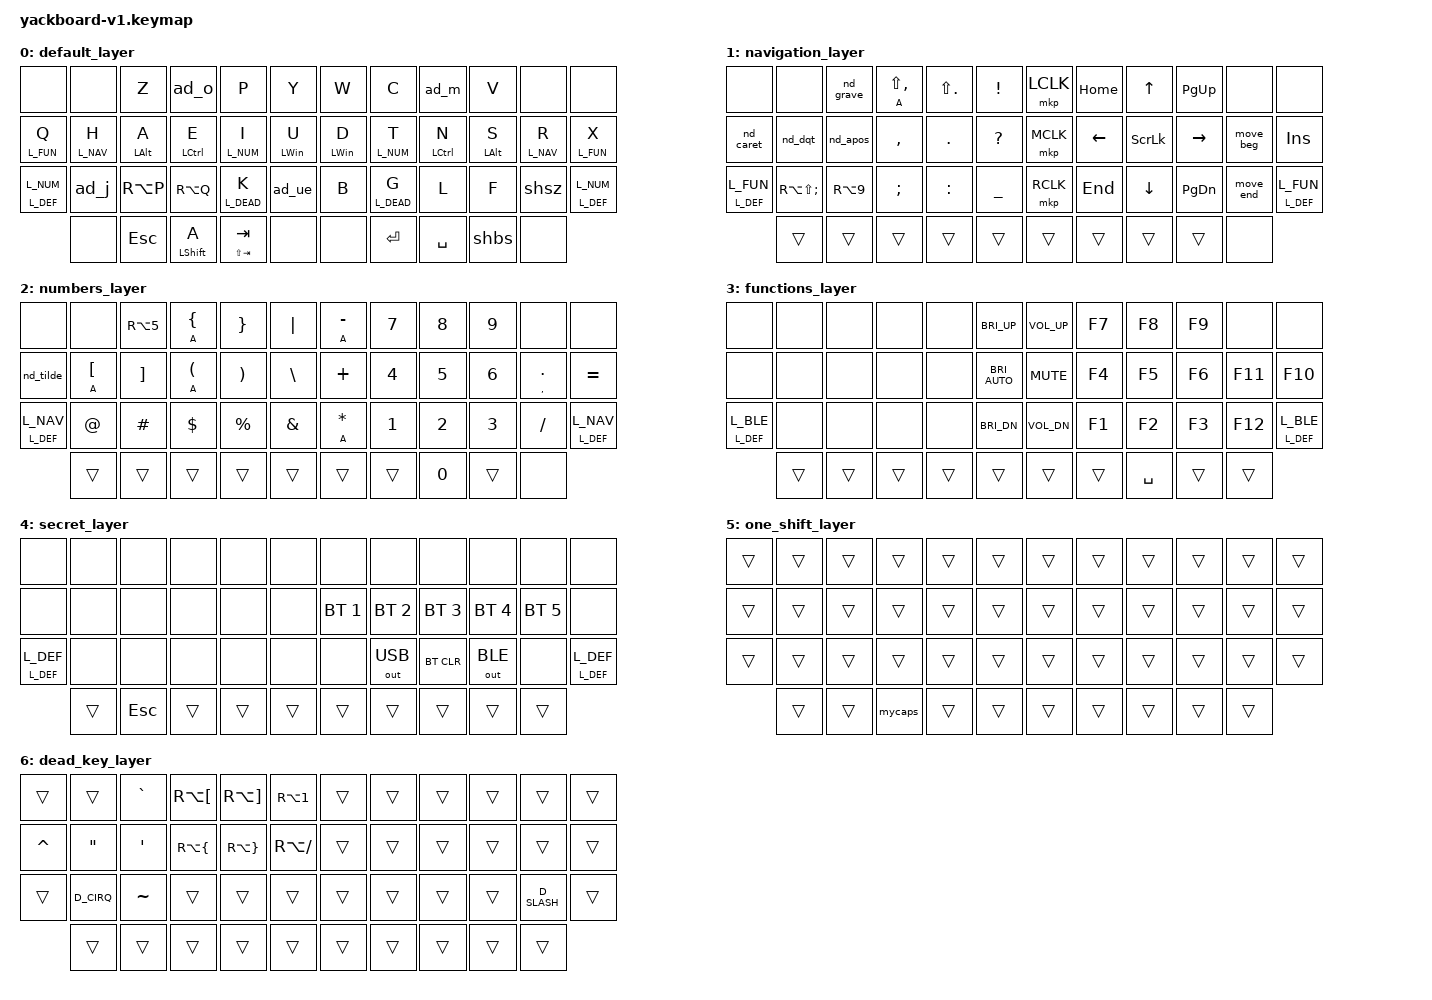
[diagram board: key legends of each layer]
// This is the key map of the Yackboard v1 with the improved OPY layout.

#include <behaviors.dtsi>
#include <dt-bindings/zmk/keys.h>
#include <dt-bindings/zmk/mouse.h>   // This is required when using &mkp mouse key events.
#include <dt-bindings/zmk/bt.h>      // This is required when using &bt bluetooth commands.
#include <dt-bindings/zmk/outputs.h> // This is required when using the &out output commands.

// The following are illegal keycodes (above 0x00ff) with usage page 0x07. They are automatically
// removed by the event handler of the "zmk,behavior-antecedent-morph" as soon as one such
// behavior is defined and so cannot print anything. But they can be used as antecedents in
// that behavior and modify the subsequent key. For example, the slash can act as a dead key
// and modify the subsequent o to an ø.
#define D_SLASH 0x070100
#define D_CIRQ  0x070101

// The dedicated shift key has got the following behaviour:
// - if held down, it is the shift modifier
// - if held down, but no other key is tapped, it reverts to the default layer (note that this requires the custom retro-tap patch of https://github.com/nickconway/zmk/tree/retro-tap-binding)
// - if tapped once, it is a one-shot shift, i.e. applies shift to the subsequent key
// - if tapped twice, it is my flavour of caps word, i.e. it capitalizes the subsequent word (including the underscore)
//
// ??? note that reverting to the default layer does not work because a retro-tap parameter prevents the hold behavior entirely.
// I have therefore removed the retro-tap behavior <&to L_DEF> from the behavior-hold-tap
// Better: patch that behavior so that just holding the key first issues the hold and then the retro-tap
//
// This is implemented as follows:
// - first, there is a hold-tap with hold the LSHFT and tap the following sticky key; it has a custom retro-tap behaviour which resets the layer to default
// - the sticky key produces a one-shot version of a macro that applies the following two modifiers
// - the shift modifier (for the one-shot shift) and the momentarily applied special layer L_ONE_SHF (which does nothing other than modifying the behaviour of the shift key)
// - on the special layer L_ONE_SHF the shift key is my flavour of caps-word - otherwise that layer is transparent

/ {
  macros {
    macro_shf: macro_layer_and_shift { // this macro applies the two modifiers when the shift key is tapped for the first time
      compatible = "zmk,behavior-macro";
      label = "MACRO_LAYER_AND_SHIFT";
      #binding-cells = <0>;
      wait-ms = <0>;
      tap-ms = <1>;
      bindings
      = <&macro_press   &mo L_SHF &kp LSHFT>
      , <&macro_pause_for_release>
      , <&macro_release &mo L_SHF &kp LSHFT>
      ;
    };
  };

  behaviors {
    sticky_shift: sticky_layer_and_shift { // this is the sticky behaviour of the macro when the dedicated shift key is pressed for the first time
      compatible = "zmk,behavior-sticky-key";
      label = "STICKY_LAYER_AND_SHIFT";
      #binding-cells = <1>;
      release-after-ms = <1000>;
      bindings = <&macro_shf>;
      ignore-modifiers;
    };
    hold_shift: hold_tap_shift { // this is the hold-tap for the dedicated shift key
      compatible = "zmk,behavior-hold-tap";
      label = "HOLD_TAP_SHIFT";
      #binding-cells = <2>;
      flavor = "balanced";
      tapping-term-ms = <300>;
      bindings = <&kp>, <&sticky_shift>;
    };
    mycaps: behavior_my_caps_word { // my version of Caps Word includes the underscore as a letter.
      compatible = "zmk,behavior-caps-word";
      label = "MY_CAPS";
      #binding-cells = <0>;
      continue-list = <UNDER>;
    };
  };
};

//      retro-tap;
//      retro-tap-behavior = "TO_LAYER"; // this requiree the custom retro-tap patch; note that the alternative behaviour is defined using control strings such as this
//      retro-tap-param1 = <L_DEF>;


// There are two variants of home row hold-tap modifiers: mod-tap for [Ctrl], [Alt] and [Win] and layer-tap for the keys
// that momentarily activate the number, navigation, function and dead key layers.
//
// If the tap binding is a key press, the key code is taken from the second parameter of the behavior. If the tap binding
// is another behavior, however, for example if the tap binding is an adaptive key, this must be defined as a special
// behavior.

/ {
  behaviors {
    moht: modifier_hold_tap { // the home row modifiers use the following specialization of &ht.
      compatible = "zmk,behavior-hold-tap";
      label = "MODIFIER_HOLD_TAP";
      #binding-cells = <2>;
      flavor = "balanced";
      tapping-term-ms = <250>;
      quick-tap-ms = <200>;
      bindings = <&kp>, <&kp>;
    };
    mohta: modifier_hold_tapa { // the home row modifier for adaptive A
      compatible = "zmk,behavior-hold-tap";
      label = "MODIFIER_HOLD_TAPA";
      #binding-cells = <2>;
      flavor = "balanced";
      tapping-term-ms = <250>;
      quick-tap-ms = <200>;
      bindings = <&kp>, <&ad_a>;
    };
    mohtu: modifier_hold_tapu { // the home row modifier for adaptive U
      compatible = "zmk,behavior-hold-tap";
      label = "MODIFIER_HOLD_TAPU";
      #binding-cells = <2>;
      flavor = "balanced";
      tapping-term-ms = <250>;
      quick-tap-ms = <200>;
      bindings = <&kp>, <&ad_u>;
    };
    mohtd: modifier_hold_tapd { // the home row modifier for adaptive D
      compatible = "zmk,behavior-hold-tap";
      label = "MODIFIER_HOLD_TAPD";
      #binding-cells = <2>;
      flavor = "balanced";
      tapping-term-ms = <250>;
      quick-tap-ms = <200>;
      bindings = <&kp>, <&ad_d>;
    };
    mohtn: modifier_hold_tapn { // the home row modifier for adaptive N
      compatible = "zmk,behavior-hold-tap";
      label = "MODIFIER_HOLD_TAPN";
      #binding-cells = <2>;
      flavor = "balanced";
      tapping-term-ms = <250>;
      quick-tap-ms = <200>;
      bindings = <&kp>, <&ad_n>;
    };
    lyht: layer_hold_tap { // the home row layer keys for use the following specialization of &ht.
      compatible = "zmk,behavior-hold-tap";
      label = "LAYER_HOLD_TAP";
      #binding-cells = <2>;
      flavor = "balanced";
      tapping-term-ms = <250>;
      quick-tap-ms = <250>;
      bindings = <&mo>, <&kp>;
    };
    lyhtq: layer_hold_tapq { // the home row layer key for adaptive Q; note that instead of a key-press, this calls the macro for Qu and only in the retro-tap case a single Q
      compatible = "zmk,behavior-hold-tap";
      label = "LAYER_HOLD_TAPQ";
      #binding-cells = <2>;
      flavor = "balanced";
      tapping-term-ms = <250>;
      retro-tap;
      retro-tap-behavior = "KEY_PRESS"; // this requiree the custom retro-tap patch; note that the alternative behaviour is defined using control strings such as this
      retro-tap-param1 = <Q>;
      quick-tap-ms = <250>;
      bindings = <&mo>, <&qu_mod>;
    };
    lyhth: layer_hold_taph { // the home row layer key for adaptive H
      compatible = "zmk,behavior-hold-tap";
      label = "LAYER_HOLD_TAPH";
      #binding-cells = <2>;
      flavor = "balanced";
      tapping-term-ms = <250>;
      quick-tap-ms = <250>;
      bindings = <&mo>, <&ad_h>;
    };
    lyhtx: layer_hold_tapx { // the home row layer key for adaptive X
      compatible = "zmk,behavior-hold-tap";
      label = "LAYER_HOLD_TAPX";
      #binding-cells = <2>;
      flavor = "balanced";
      tapping-term-ms = <250>;
      quick-tap-ms = <250>;
      bindings = <&mo>, <&ad_x>;
    };
    lyhtg: layer_hold_tapg { // the home row layer key for adaptive G
      compatible = "zmk,behavior-hold-tap";
      label = "LAYER_HOLD_TAPG";
      #binding-cells = <2>;
      flavor = "balanced";
      tapping-term-ms = <250>;
      quick-tap-ms = <250>;
      bindings = <&mo>, <&ad_g>;
    };
  };
};

// The dedicated layer cycle keys switch layers or, if held down, revert to the basic layer.

/ {
  behaviors {
    ltt: layer_to_tap { // the layer switch key on the right half is &to if tapped and &to if held down
      compatible = "zmk,behavior-hold-tap";
      label = "LAYER_TO_TAP";
      #binding-cells = <2>;
      tapping-term-ms = <200>;
      bindings = <&to>, <&to>;
    };
  };
};

// There are a few keys that use the hold-tap function in order to issue a different symbol if held longer.

/ {
  behaviors {
    ht: hold_tap_general {
      compatible = "zmk,behavior-hold-tap";
      label = "HOLD_TAP_GENERAL";
      #binding-cells = <2>;
      flavor = "balanced";
      tapping-term-ms = <200>;
      bindings = <&kp>, <&kp>;
    };
  };
};

// On the navigation layer, there are two special keys that issue the Emacs commands for beginning and end of document.

/ {
  macros {
    move_beg: meta_less_than {
      label = "M-<";
      compatible = "zmk,behavior-macro";
      #binding-cells = <0>;
      bindings = <&macro_tap &kp ESC &kp LESS_THAN>;
    };
    move_end: meta_greater_than {
      label = "M->";
      compatible = "zmk,behavior-macro";
      #binding-cells = <0>;
      bindings = <&macro_tap &kp ESC &kp GREATER_THAN>;
    };
  };
};

// For some keys, the shifted variant is constructed manually.

/ {
  behaviors {
    shbs: shift_backspace { // the backspace key with [Shift] is [Del]
      compatible = "zmk,behavior-mod-morph";
      label = "SHIFT_BACKSPACE";
      #binding-cells = <0>;
      bindings = <&kp BSPC>, <&kp DEL>;
      mods = <(MOD_LSFT|MOD_RSFT)>;
    };
    shsz: shift_sz { // the [ß] with [Shift] is the [§] sign
      compatible = "zmk,behavior-mod-morph";
      label = "SHIFT_SZ";
      #binding-cells = <0>;
      bindings = <&kp RA(S)>, <&kp RA(LS(S))>;
      mods = <(MOD_LSFT|MOD_RSFT)>;
    };
  };
};

// The diacritics on the navigation and punctuation layer are non-dead. This is implemented by sending a sequence of
// first the diacritic and then a spcace.

/ {
  macros {
    nd_grave: non_dead_grave { // non-dead version of the grave accent
      label = "NON_DEAD_GRAVE";
      compatible = "zmk,behavior-macro";
      #binding-cells = <0>;
      bindings = <&macro_tap &kp GRAVE &kp SPACE>;
    };
    nd_apos: non_dead_apostrophe { // non-dead version of the apostrophe (which otherwise plays the role of the acute accent)
      label = "NON_DEAD_APOSTROPHE";
      compatible = "zmk,behavior-macro";
      #binding-cells = <0>;
      bindings = <&macro_tap &kp APOS &kp SPACE>;
    };
    nd_dqt: non_dead_doublequote { // non-dead version of the double quote
      label = "NON_DEAD_DOUBLEQUOTE";
      compatible = "zmk,behavior-macro";
      #binding-cells = <0>;
      bindings = <&macro_tap &kp DQT &kp SPACE>;
    };
    nd_caret: non_dead_caret { // non-dead version of the caret
      label = "NON_DEAD_CARET";
      compatible = "zmk,behavior-macro";
      #binding-cells = <0>;
      bindings = <&macro_tap &kp CARET &kp SPACE>;
    };
    nd_tilde: non_dead_tilde { // non-dead version of the tilde
      label = "NON_DEAD_TILDE";
      compatible = "zmk,behavior-macro";
      #binding-cells = <0>;
      bindings = <&macro_tap &kp TILDE &kp SPACE>;
    };
  };
};

// On the number layer, there are hold-tap keys that send some of these non-dead diacritics.

/ {
  behaviors {
    ht_apos: hold_tap_apostrophe { // a hold-tap that sends the non-dead apostrophe on hold.
      compatible = "zmk,behavior-hold-tap";
      label = "HOLD_TAP_APOSTROPHE";
      #binding-cells = <2>;
      flavor = "balanced";
      tapping-term-ms = <200>;
      bindings = <&nd_apos>, <&kp>;
    };
    ht_caret: hold_tap_caret { // a hold-tap that sends the non-dead caret on hold.
      compatible = "zmk,behavior-hold-tap";
      label = "HOLD_TAP_CARET";
      #binding-cells = <2>;
      flavor = "balanced";
      tapping-term-ms = <200>;
      bindings = <&nd_caret>, <&kp>;
    };
  };
};

// The following macros produce pairs of brackets and place the cursor in between.

/ {
  macros {
    br_par: pair_parentheses {
      label = "PAIR_PARENTHESES";
      compatible = "zmk,behavior-macro";
      #binding-cells = <0>;
      bindings = <&macro_tap &kp LPAR &kp RPAR &kp LEFT>;
    };
    br_bkt: pair_brackets {
      label = "PAIR_BRACKETS";
      compatible = "zmk,behavior-macro";
      #binding-cells = <0>;
      bindings = <&macro_tap &kp LBKT &kp RBKT &kp LEFT>;
    };
    br_brc: pair_braces {
      label = "PAIR_BRACES";
      compatible = "zmk,behavior-macro";
      #binding-cells = <0>;
      bindings = <&macro_tap &kp LBRC &kp RBRC &kp LEFT>;
    };
    br_ang: pair_angular {
      label = "PAIR_ANGULAR";
      compatible = "zmk,behavior-macro";
      #binding-cells = <0>;
      bindings = <&macro_tap &kp LS(COMMA) &kp LS(DOT) &kp LEFT>;
    };
  };
  behaviors {
    ht_par: hold_tap_parentheses {
      compatible = "zmk,behavior-hold-tap";
      label = "HOLD_TAP_PARENTHESES";
      #binding-cells = <2>;
      flavor = "balanced";
      tapping-term-ms = <200>;
      bindings = <&br_par>, <&kp>;
    };
    ht_bkt: hold_tap_brackets {
      compatible = "zmk,behavior-hold-tap";
      label = "HOLD_TAP_BRACKETS";
      #binding-cells = <2>;
      flavor = "balanced";
      tapping-term-ms = <200>;
      bindings = <&br_bkt>, <&kp>;
    };
    ht_brc: hold_tap_braces {
      compatible = "zmk,behavior-hold-tap";
      label = "HOLD_TAP_BRACES";
      #binding-cells = <2>;
      flavor = "balanced";
      tapping-term-ms = <200>;
      bindings = <&br_brc>, <&kp>;
    };
    ht_ang: hold_tap_angular {
      compatible = "zmk,behavior-hold-tap";
      label = "HOLD_TAP_ANGULAR";
      #binding-cells = <2>;
      flavor = "balanced";
      tapping-term-ms = <200>;
      bindings = <&br_ang>, <&kp>;
    };
  };
};

// Adaptive keys (fast, 250 ms) in order to avoid same finger bigrams.

/ {
  behaviors {
    ad_m: adaptive_m {
      compatible = "zmk,behavior-antecedent-morph";
      label = "ADAPTIVE_M";
      #binding-cells = <0>;
      defaults = <&kp M>;
      bindings = <&kp L>;
      max-delay-ms = <250>;
      antecedents = <C>;
    };
    ad_h: adaptive_h {
      compatible = "zmk,behavior-antecedent-morph";
      label = "ADAPTIVE_H";
      #binding-cells = <0>;
      defaults = <&kp H>;
      bindings = <&kp I>;
      max-delay-ms = <250>;
      antecedents = <K>;
    };
    ad_u: adaptive_u {
      compatible = "zmk,behavior-antecedent-morph";
      label = "ADAPTIVE_U";
      #binding-cells = <0>;
      defaults = <&kp U>;
      bindings = <&kp O>;
      max-delay-ms = <250>;
      antecedents = <Y>;
    };
    ad_d: adaptive_d {
      compatible = "zmk,behavior-antecedent-morph";
      label = "ADAPTIVE_D";
      #binding-cells = <0>;
      defaults = <&kp D>;
      bindings = <&kp I>;
      max-delay-ms = <250>;
      antecedents = <P>;
    };
    ad_n: adaptive_n {
      compatible = "zmk,behavior-antecedent-morph";
      label = "ADAPTIVE_N";
      #binding-cells = <0>;
      defaults = <&kp N>;
      bindings = <&kp U>;
      max-delay-ms = <250>;
      antecedents = <P>;
    };
    ad_x: adaptive_x {
      compatible = "zmk,behavior-antecedent-morph";
      label = "ADAPTIVE_X";
      #binding-cells = <0>;
      defaults = <&kp X>;
      bindings = <&kp W>, <&kp M>;
      max-delay-ms = <250>;
      antecedents = <T N>;
    };
    ad_j: adaptive_j {
      compatible = "zmk,behavior-antecedent-morph";
      label = "ADAPTIVE_J";
      #binding-cells = <0>;
      defaults = <&kp J>;
      bindings = <&kp U>;
      max-delay-ms = <250>;
      antecedents = <K>;
    };
    ad_ue: adaptive_ue {
      compatible = "zmk,behavior-antecedent-morph";
      label = "ADAPTIVE_UE";
      #binding-cells = <0>;
      defaults = <&kp RA(Y)>;
      bindings = <&kp P>;
      max-delay-ms = <250>;
      antecedents = <U>;
    };
    ad_g: adaptive_g {
      compatible = "zmk,behavior-antecedent-morph";
      label = "ADAPTIVE_G";
      #binding-cells = <0>;
      defaults = <&kp G>;
      bindings = <&kp L>;
      max-delay-ms = <250>;
      antecedents = <B>;
    };
  };
};

// Adaptive keys (slow, 1 sec) that implement additional dead keys.

/ {
  behaviors {
    ad_o: adaptive_o { // implements the dead slash
      compatible = "zmk,behavior-antecedent-morph";
      label = "ADAPTIVE_O";
      #binding-cells = <0>;
      defaults = <&kp O>;
      bindings = <&kp RA(L)>;
      max-delay-ms = <1000>;
      antecedents = <D_SLASH>;
    };
    ad_a: adaptive_a { // implements the dead circle
      compatible = "zmk,behavior-antecedent-morph";
      label = "ADAPTIVE_A";
      #binding-cells = <0>;
      defaults = <&kp A>;
      bindings = <&kp RA(W)>;
      max-delay-ms = <1000>;
      antecedents = <D_CIRQ>;
    };
  };
};

// Special treatment of Q

/ {
  macros {
    qu_low: qu_lowercase {
      label = "QU_LOWERCASE";
      compatible = "zmk,behavior-macro";
      #binding-cells = <0>;
      bindings = <&macro_tap &kp Q &kp U>;
    };
    qu_upp: qu_uppercase {
      label = "QU_UPPERCASE";
      compatible = "zmk,behavior-macro";
      #binding-cells = <0>;
      wait-ms = <150>;
      bindings = <&macro_tap &kp LS(Q) &kp U>;
    };
  };
  behaviors {
    qu_mod: qu_modifier {
      compatible = "zmk,behavior-mod-morph";
      label = "QU_MODIFIER";
      #binding-cells = <0>;
      bindings = <&qu_low>, <&qu_upp>;
      mods = <(MOD_LSFT|MOD_RSFT)>;
    };
  };
};

/ {
  keymap {
    compatible = "zmk,keymap";

// +-------+-------+-------+-------+-------+-------+       +-------+-------+-------+-------+-------+-------+
// |       |       |       |       |       |       |       |       |       |       |       |       |       |
// +-------+-------+-------+-------+-------+-------+       +-------+-------+-------+-------+-------+-------+
// |       |       |       |       |       |       |       |       |       |       |       |       |       |
// +-------+-------+-------+-------+-------+-------+       +-------+-------+-------+-------+-------+-------+
// |       |       |       |       |       |       |       |       |       |       |       |       |       |
// +-------+-------+-------+-------+-------+-------+       +-------+-------+-------+-------+-------+-------+
//         |       |       |       |       |       |       |       |       |       |       |       |
//         +-------+-------+-------+-------+-------+       +-------+-------+-------+-------+-------+

    default_layer { // #define L_DEF 0
      bindings = <
    &none             &none            &kp Z         &ad_o               &kp P           &kp Y          &kp W            &kp C           &ad_m          &kp V        &none          &none
    &lyhtq L_FUN Q    &lyhth L_NAV H   &mohta LALT A &moht LCTRL E       &lyht L_NUM I   &mohtu LWIN U  &mohtd LWIN D    &lyht L_NUM T   &mohtn LCTRL N &moht LALT S &lyht L_NAV R  &lyhtx L_FUN X
    &ltt L_DEF L_NUM  &ad_j            &kp RA(P)     &kp RA(Q)           &lyht L_DEAD K  &ad_ue         &kp B            &lyhtg L_DEAD G &kp L          &kp F        &shsz          &ltt L_DEF L_NUM
                      &none            &kp ESC       &hold_shift LSHFT A &ht LS(TAB) TAB &none          &none            &kp RET         &kp SPACE      &shbs        &none
        >;
    };

    navigation_layer { // #define L_NAV 1
      bindings = <
    &none             &none            &nd_grave    &ht_ang A LS(COMMA) &kp LS(DOT)     &kp EXCL       &mkp LCLK        &kp HOME       &kp UP        &kp PG_UP    &none          &none
    &nd_caret         &nd_dqt          &nd_apos     &kp COMMA           &kp DOT         &kp QMARK      &mkp MCLK        &kp LEFT       &kp SLCK      &kp RIGHT    &move_beg      &kp INS
    &ltt L_DEF L_FUN  &kp RA(LS(SEMI)) &kp RA(N9)   &kp SEMI            &kp COLON       &kp UNDER      &mkp RCLK        &kp END        &kp DOWN      &kp PG_DN    &move_end      &ltt L_DEF L_FUN
                      &trans           &trans       &trans              &trans          &trans         &trans           &trans         &trans        &trans       &none
      >;
    };

    numbers_layer { // #define L_NUM 2
      bindings = <
    &none             &none            &kp RA(N5)   &ht_brc A LBRC      &kp RBRC        &kp PIPE       &ht_apos A MINUS &kp N7         &kp N8        &kp N9       &none         &none
    &nd_tilde         &ht_bkt A LBKT   &kp RBKT     &ht_par A LPAR      &kp RPAR        &kp BSLH       &kp PLUS         &kp N4         &kp N5        &kp N6       &ht COMMA DOT &kp EQUAL
    &ltt L_DEF L_NAV  &kp AT           &kp HASH     &kp DLLR            &kp PRCNT       &kp AMPS       &ht_caret A STAR &kp N1         &kp N2        &kp N3       &kp SLASH     &ltt L_DEF L_NAV
                      &trans           &trans       &trans              &trans          &trans         &trans           &trans         &kp N0        &trans       &none
      >;
    };

    functions_layer { // #define L_FUN 3
      bindings = <
    &none             &none            &none        &none               &none           &kp C_BRI_UP   &kp K_VOL_UP     &kp F7         &kp F8        &kp F9       &none         &none
    &none             &none            &none        &none               &none           &kp C_BRI_AUTO &kp K_MUTE       &kp F4         &kp F5        &kp F6       &kp F11       &kp F10
    &ltt L_DEF L_BLE  &none            &none        &none               &none           &kp C_BRI_DN   &kp K_VOL_DN     &kp F1         &kp F2        &kp F3       &kp F12       &ltt L_DEF L_BLE
                      &trans           &trans       &trans              &trans          &trans         &trans           &trans         &kp SPACE     &trans       &trans
      >;
    };

    secret_layer { // #define L_BLE 4
      bindings = <
    &none             &none            &none        &none               &none           &none          &none            &none          &none         &none        &none         &none
    &none             &none            &none        &none               &none           &none          &bt BT_SEL 1     &bt BT_SEL 2   &bt BT_SEL 3  &bt BT_SEL 4 &bt BT_SEL 5  &none
    &ltt L_DEF L_DEF  &none            &none        &none               &none           &none          &none            &out OUT_USB   &bt BT_CLR    &out OUT_BLE &none         &ltt L_DEF L_DEF
                      &trans           &kp ESC      &trans              &trans          &trans         &trans           &trans         &trans        &trans       &trans
      >;
    };

    one_shift_layer { // #define L_SHF 5
      bindings = <
    &trans            &trans           &trans       &trans              &trans          &trans         &trans           &trans         &trans        &trans       &trans        &trans
    &trans            &trans           &trans       &trans              &trans          &trans         &trans           &trans         &trans        &trans       &trans        &trans
    &trans            &trans           &trans       &trans              &trans          &trans         &trans           &trans         &trans        &trans       &trans        &trans
                      &trans           &trans       &mycaps             &trans          &trans         &trans           &trans         &trans        &trans       &trans
      >;
    };

    dead_key_layer { // #define L_DEAD 6
      bindings = <
    &trans            &trans           &kp GRAVE    &kp RA(LBKT)        &kp RA(RBKT)    &kp RA(N1)     &trans           &trans         &trans        &trans       &trans        &trans
    &kp CARET         &kp DQT          &kp APOS     &kp RA(LBRC)        &kp RA(RBRC)    &kp RA(SLASH)  &trans           &trans         &trans        &trans       &trans        &trans
    &trans            &kp D_CIRQ       &kp TILDE    &trans              &trans          &trans         &trans           &trans         &trans        &trans       &kp D_SLASH   &trans
                      &trans           &trans       &trans              &trans          &trans         &trans           &trans         &trans        &trans       &trans
      >;
    };
  };
};
